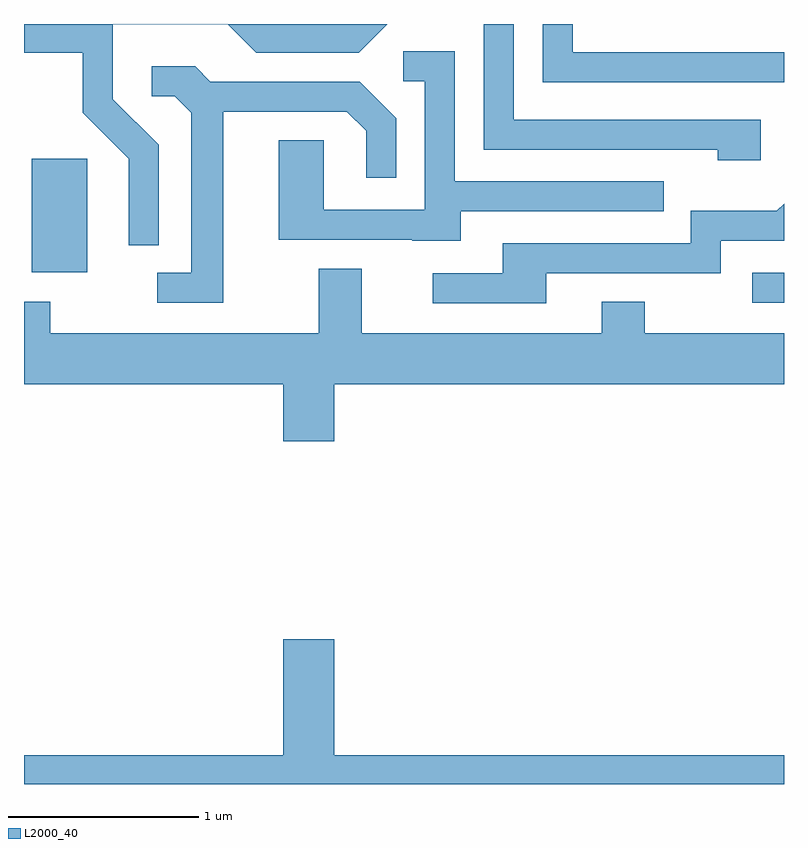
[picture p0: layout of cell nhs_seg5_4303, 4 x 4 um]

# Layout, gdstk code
import gdstk
lib = gdstk.Library(unit=1e-6, precision=1e-09)
def R(c, l, rs):  # rectangles x0, y0, x1, y1
    for r in rs: c.add(gdstk.rectangle(r[:2], r[2:], *l))
def P(c, l, *ps):  # polygons
    for p in ps: c.add(gdstk.Polygon(p, *l))
L2000_40 = (2000, 40)

nhs_seg5_4303 = lib.new_cell('nhs_seg5_4303')
R(nhs_seg5_4303, L2000_40, [(317.443,1410.606,317.611,1410.764), (313.651,1410.766,313.944,1411.364)])
P(nhs_seg5_4303, L2000_40, [(317.611,1411.924),(316.499,1411.924),(316.499,1412.072),(316.341,1412.072),(316.341,1411.766),(317.611,1411.766)],
  [(314.319,1411.437),(314.079,1411.677),(314.079,1412.071),(314.684,1412.071),(314.834,1411.921),(315.372,1411.921),(315.523,1412.072),(313.611,1412.072),(313.611,1411.921),(313.921,1411.921),(313.921,1411.604),(314.161,1411.364),(314.161,1410.908),(314.319,1410.908)],
  [(317.489,1411.569),(316.189,1411.569),(316.189,1412.072),(316.031,1412.072),(316.031,1411.411),(317.261,1411.411),(317.261,1411.356),(317.489,1411.356)],
  [(315.909,1411.086),(316.978,1411.086),(316.978,1411.244),(315.879,1411.244),(315.879,1411.929),(315.608,1411.929),(315.608,1411.771),(315.721,1411.771),(315.721,1411.094),(315.189,1411.094),(315.189,1411.459),(314.951,1411.459),(314.951,1410.936),(315.655,1410.936),(315.655,1410.931),(315.909,1410.931)],
  [(314.659,1411.611),(315.309,1411.611),(315.411,1411.509),(315.411,1411.263),(315.569,1411.263),(315.569,1411.577),(315.377,1411.769),(314.592,1411.769),(314.512,1411.849),(314.283,1411.849),(314.283,1411.691),(314.404,1411.691),(314.491,1411.604),(314.491,1410.764),(314.313,1410.764),(314.313,1410.606),(314.659,1410.606)],
  [(316.359,1410.761),(317.279,1410.761),(317.279,1410.931),(317.611,1410.931),(317.611,1411.126),(317.574,1411.089),(317.121,1411.089),(317.121,1410.919),(316.131,1410.919),(316.131,1410.759),(315.763,1410.759),(315.763,1410.601),(316.359,1410.601)],
  [(315.244,1410.176),(317.611,1410.176),(317.611,1410.444),(316.879,1410.444),(316.879,1410.609),(316.651,1410.609),(316.651,1410.444),(315.389,1410.444),(315.389,1410.784),(315.161,1410.784),(315.161,1410.444),(313.749,1410.444),(313.749,1410.609),(313.611,1410.609),(313.611,1410.176),(314.976,1410.176),(314.976,1409.876),(315.244,1409.876)],
  [(317.611,1408.224),(315.244,1408.224),(315.244,1408.834),(314.976,1408.834),(314.976,1408.224),(313.611,1408.224),(313.611,1408.072),(317.611,1408.072)])

lib.write_gds('nhs_seg5_4303.gds')
